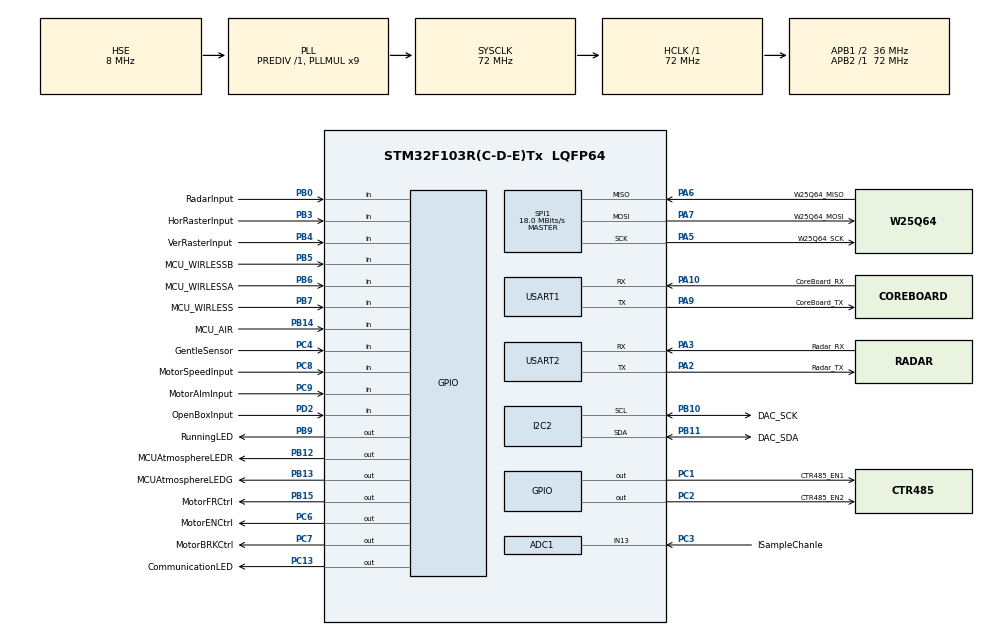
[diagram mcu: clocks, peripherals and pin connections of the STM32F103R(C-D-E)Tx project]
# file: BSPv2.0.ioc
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ADC1.Channel-0\#ChannelRegularConversion=ADC_CHANNEL_13
ADC1.Channel-1\#ChannelRegularConversion=ADC_CHANNEL_TEMPSENSOR
ADC1.ContinuousConvMode=DISABLE
ADC1.DataAlign=ADC_DATAALIGN_RIGHT
ADC1.DiscontinuousConvMode=DISABLE
ADC1.EnableAnalogWatchDog=false
ADC1.EnableRegularConversion=ENABLE
ADC1.ExternalTrigConv=ADC_SOFTWARE_START
ADC1.InjNumberOfConversion=0
ADC1.NbrOfConversion=2
ADC1.NbrOfConversionFlag=1
ADC1.Rank-0\#ChannelRegularConversion=1
ADC1.Rank-1\#ChannelRegularConversion=2
ADC1.SamplingTime-0\#ChannelRegularConversion=ADC_SAMPLETIME_239CYCLES_5
ADC1.SamplingTime-1\#ChannelRegularConversion=ADC_SAMPLETIME_239CYCLES_5
ADC1.ScanConvMode=ADC_SCAN_ENABLE
ADC1.master=1
Dma.ADC1.0.Direction=DMA_PERIPH_TO_MEMORY
Dma.ADC1.0.Instance=DMA1_Channel1
Dma.ADC1.0.MemDataAlignment=DMA_MDATAALIGN_WORD
Dma.ADC1.0.MemInc=DMA_MINC_ENABLE
Dma.ADC1.0.Mode=DMA_CIRCULAR
Dma.ADC1.0.PeriphDataAlignment=DMA_PDATAALIGN_WORD
Dma.ADC1.0.PeriphInc=DMA_PINC_DISABLE
Dma.ADC1.0.Priority=DMA_PRIORITY_LOW
Dma.Request0=ADC1
Dma.Request1=USART1_RX
Dma.Request2=USART2_RX
Dma.USART1_RX.1.Direction=DMA_PERIPH_TO_MEMORY
Dma.USART1_RX.1.Instance=DMA1_Channel5
Dma.USART1_RX.1.MemDataAlignment=DMA_MDATAALIGN_BYTE
Dma.USART1_RX.1.MemInc=DMA_MINC_ENABLE
Dma.USART1_RX.1.Mode=DMA_NORMAL
Dma.USART1_RX.1.PeriphDataAlignment=DMA_PDATAALIGN_BYTE
Dma.USART1_RX.1.PeriphInc=DMA_PINC_DISABLE
Dma.USART1_RX.1.Priority=DMA_PRIORITY_LOW
Dma.USART2_RX.2.Direction=DMA_PERIPH_TO_MEMORY
Dma.USART2_RX.2.Instance=DMA1_Channel6
Dma.USART2_RX.2.MemDataAlignment=DMA_MDATAALIGN_BYTE
Dma.USART2_RX.2.MemInc=DMA_MINC_ENABLE
Dma.USART2_RX.2.Mode=DMA_NORMAL
Dma.USART2_RX.2.PeriphDataAlignment=DMA_PDATAALIGN_BYTE
Dma.USART2_RX.2.PeriphInc=DMA_PINC_DISABLE
Dma.USART2_RX.2.Priority=DMA_PRIORITY_LOW
Mcu.Family=STM32F1
Mcu.Name=STM32F103R(C-D-E)Tx
Mcu.Package=LQFP64
NVIC.ADC1_2_IRQn=true\:0\:0\:false\:true\:true\:10\:true
NVIC.DMA1_Channel1_IRQn=true\:0\:0\:false\:true\:true\:5\:false
NVIC.DMA1_Channel5_IRQn=true\:0\:0\:false\:true\:true\:7\:false
NVIC.DMA1_Channel6_IRQn=true\:0\:0\:false\:true\:true\:8\:false
NVIC.I2C2_ER_IRQn=true\:0\:0\:false\:true\:true\:12\:true
NVIC.I2C2_EV_IRQn=true\:0\:0\:false\:true\:true\:11\:true
NVIC.PriorityGroup=NVIC_PRIORITYGROUP_4
NVIC.SPI1_IRQn=true\:0\:0\:false\:false\:true\:true
NVIC.TIM4_IRQn=true\:0\:0\:false\:true\:true\:4\:true
NVIC.TIM5_IRQn=true\:0\:0\:false\:true\:true\:3\:true
NVIC.TIM6_IRQn=true\:0\:0\:false\:false\:true\:true
NVIC.USART1_IRQn=true\:0\:0\:false\:true\:true\:1\:true
NVIC.USART2_IRQn=true\:0\:0\:false\:true\:true\:2\:true
PA10.GPIO_Label=CoreBoard_RX
PA10.GPIO_PuPd=GPIO_PULLUP
PA10.Mode=Asynchronous
PA10.Signal=USART1_RX
PA13.Mode=Serial_Wire
PA13.Signal=SYS_JTMS-SWDIO
PA14.Mode=Serial_Wire
PA14.Signal=SYS_JTCK-SWCLK
PA2.GPIO_Label=Radar_TX
PA2.Mode=Asynchronous
PA2.Signal=USART2_TX
PA3.GPIO_Label=Radar_RX
PA3.GPIO_PuPd=GPIO_PULLUP
PA3.Mode=Asynchronous
PA3.Signal=USART2_RX
PA5.GPIO_Label=W25Q64_SCK
PA5.Mode=Full_Duplex_Master
PA5.Signal=SPI1_SCK
PA6.GPIO_Label=W25Q64_MISO
PA6.Mode=Full_Duplex_Master
PA6.Signal=SPI1_MISO
PA7.GPIO_Label=W25Q64_MOSI
PA7.Mode=Full_Duplex_Master
PA7.Signal=SPI1_MOSI
PA9.GPIO_Label=CoreBoard_TX
PA9.Mode=Asynchronous
PA9.Signal=USART1_TX
PB0.GPIO_Label=RadarInput
PB0.GPIO_PuPd=GPIO_PULLUP
PB0.Signal=GPIO_Input
PB10.GPIO_Label=DAC_SCK
PB10.Mode=I2C
PB10.Signal=I2C2_SCL
PB11.GPIO_Label=DAC_SDA
PB11.Mode=I2C
PB11.Signal=I2C2_SDA
PB12.GPIO_Label=MCUAtmosphereLEDR
PB12.Signal=GPIO_Output
PB13.GPIO_Label=MCUAtmosphereLEDG
PB13.Signal=GPIO_Output
PB14.GPIO_Label=MCU_AIR
PB14.Signal=GPIO_Input
PB15.GPIO_Label=MotorFRCtrl
PB15.Signal=GPIO_Output
PB3.GPIO_Label=HorRasterInput
PB3.GPIO_PuPd=GPIO_PULLUP
PB3.Signal=GPIO_Input
PB4.GPIO_Label=VerRasterInput
PB4.GPIO_PuPd=GPIO_PULLDOWN
PB4.Signal=GPIO_Input
PB5.GPIO_Label=MCU_WIRLESSB
PB5.Signal=GPIO_Input
PB6.GPIO_Label=MCU_WIRLESSA
PB6.Signal=GPIO_Input
PB7.GPIO_Label=MCU_WIRLESS
PB7.GPIO_PuPd=GPIO_PULLUP
PB7.Signal=GPIO_Input
PB9.GPIO_Label=RunningLED
PB9.Signal=GPIO_Output
PC1.GPIO_Label=CTR485_EN1
PC1.GPIO_ModeDefaultOutputPP=GPIO_MODE_OUTPUT_PP
PC1.PinState=GPIO_PIN_RESET
PC1.Signal=GPIO_Output
PC13-TAMPER-RTC.GPIO_Label=CommunicationLED
PC13-TAMPER-RTC.Signal=GPIO_Output
PC2.GPIO_Label=CTR485_EN2
PC2.Signal=GPIO_Output
PC3.GPIO_Label=ISampleChanle
PC3.Signal=ADCx_IN13
PC4.GPIO_Label=GentleSensor
PC4.GPIO_PuPd=GPIO_PULLUP
PC4.Signal=GPIO_Input
PC6.GPIO_Label=MotorENCtrl
PC6.Signal=GPIO_Output
PC7.GPIO_Label=MotorBRKCtrl
PC7.Signal=GPIO_Output
PC8.GPIO_Label=MotorSpeedInput
PC8.GPIO_PuPd=GPIO_PULLUP
PC8.Signal=GPIO_Input
PC9.GPIO_Label=MotorAlmInput
PC9.GPIO_PuPd=GPIO_PULLDOWN
PC9.Signal=GPIO_Input
PD0-OSC_IN.Mode=HSE-External-Oscillator
PD0-OSC_IN.Signal=RCC_OSC_IN
PD1-OSC_OUT.Mode=HSE-External-Oscillator
PD1-OSC_OUT.Signal=RCC_OSC_OUT
PD2.GPIO_Label=OpenBoxInput
PD2.Signal=GPIO_Input
ProjectManager.HeapSize=0x200
ProjectManager.StackSize=0x400
ProjectManager.TargetToolchain=Other Toolchains (GPDSC)
RCC.ADCPresc=RCC_ADCPCLK2_DIV6
RCC.AHBFreq_Value=72000000
RCC.APB1CLKDivider=RCC_HCLK_DIV2
RCC.APB1Freq_Value=36000000
RCC.APB1TimFreq_Value=72000000
RCC.APB2Freq_Value=72000000
RCC.APB2TimFreq_Value=72000000
RCC.HCLKFreq_Value=72000000
RCC.PLLMUL=RCC_PLL_MUL9
RCC.PLLSourceVirtual=RCC_PLLSOURCE_HSE
RCC.SYSCLKFreq_VALUE=72000000
RCC.SYSCLKSource=RCC_SYSCLKSOURCE_PLLCLK
RCC.USBFreq_Value=72000000
SH.ADCx_IN13.0=ADC1_IN13,IN13
SPI1.BaudRatePrescaler=SPI_BAUDRATEPRESCALER_4
SPI1.CalculateBaudRate=18.0 MBits/s
SPI1.DataSize=SPI_DATASIZE_16BIT
SPI1.Direction=SPI_DIRECTION_2LINES
SPI1.Mode=SPI_MODE_MASTER
SPI1.VirtualType=VM_MASTER
TIM4.Period=50-1
TIM4.Prescaler=72 - 1
TIM5.Period=1000-1
TIM5.Prescaler=72 - 1
TIM6.Period=200-1
TIM6.Prescaler=72-1
USART1.VirtualMode=VM_ASYNC
USART2.VirtualMode=VM_ASYNC
VP_ADC1_TempSens_Input.Mode=IN-TempSens
VP_TIM4_VS_ClockSourceINT.Mode=Internal
VP_TIM5_VS_ClockSourceINT.Mode=Internal
VP_TIM6_VS_ClockSourceINT.Mode=Enable_Timer
board=BSPv2.0

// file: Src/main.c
/**
  ******************************************************************************
  * @file           : main.c
  * @brief          : Main program body
  ******************************************************************************
  ** This notice applies to any and all portions of this file
  * that are not between comment pairs USER CODE BEGIN and
  * USER CODE END. Other portions of this file, whether
  * inserted by the user or by software development tools
  * are owned by their respective copyright owners.
  *
  * COPYRIGHT(c) 2018 STMicroelectronics
  *
  * Redistribution and use in source and binary forms, with or without modification,
  * are permitted provided that the following conditions are met:
  *   1. Redistributions of source code must retain the above copyright notice,
  *      this list of conditions and the following disclaimer.
  *   2. Redistributions in binary form must reproduce the above copyright notice,
  *      this list of conditions and the following disclaimer in the documentation
  *      and/or other materials provided with the distribution.
  *   3. Neither the name of STMicroelectronics nor the names of its contributors
  *      may be used to endorse or promote products derived from this software
  *      without specific prior written permission.
  *
  * THIS SOFTWARE IS PROVIDED BY THE COPYRIGHT HOLDERS AND CONTRIBUTORS "AS IS"
  * AND ANY EXPRESS OR IMPLIED WARRANTIES, INCLUDING, BUT NOT LIMITED TO, THE
  * IMPLIED WARRANTIES OF MERCHANTABILITY AND FITNESS FOR A PARTICULAR PURPOSE ARE
  * DISCLAIMED. IN NO EVENT SHALL THE COPYRIGHT HOLDER OR CONTRIBUTORS BE LIABLE
  * FOR ANY DIRECT, INDIRECT, INCIDENTAL, SPECIAL, EXEMPLARY, OR CONSEQUENTIAL
  * DAMAGES (INCLUDING, BUT NOT LIMITED TO, PROCUREMENT OF SUBSTITUTE GOODS OR
  * SERVICES; LOSS OF USE, DATA, OR PROFITS; OR BUSINESS INTERRUPTION) HOWEVER
  * CAUSED AND ON ANY THEORY OF LIABILITY, WHETHER IN CONTRACT, STRICT LIABILITY,
  * OR TORT (INCLUDING NEGLIGENCE OR OTHERWISE) ARISING IN ANY WAY OUT OF THE USE
  * OF THIS SOFTWARE, EVEN IF ADVISED OF THE POSSIBILITY OF SUCH DAMAGE.
  *
  ******************************************************************************
  */
#include "main.h"
#include "stm32f1xx_hal.h"
#include "adc.h"
#include "dma.h"
#include "i2c.h"
#include "spi.h"
#include "tim.h"
#include "usart.h"
#include "gpio.h"

/* USER CODE BEGIN Includes */
#include "bsp_gentlesensor.h"
#include "bsp_common.h"
#include "bsp_motor.h"
#include "bsp_led.h"
#include "BSP_DAC5571.h"
#include "bsp_DataTransmissionLayer.h"
#include "bsp_ProtocolLayer.h"
#include "bsp_AirSensor.h"
#include "bsp_Log.h"
#include "bsp_RemoteControl.h"

/* USER CODE END Includes */

/* USER CODE BEGIN PV */
/* Private variables ---------------------------------------------------------*/
/*软件版本号*/
#define  CODEVERSION		0x0201

WIRLESS gWIRLESS;
MOTORMACHINE gMotorMachine;
GPIOSTATUSDETECTION gGentleSensorStatusDetection;
AirSensor gAirSensor;

uint8_t	  gWirlessFlag;

uint8_t   gWirlessOpenCurrentReadVal;
uint8_t   gWirlessOpenLastReadVal;
uint16_t  gWirlessOpenCnt;

uint8_t gwirlessCloseCurrentReadVal;
uint8_t gWirlessCloseLastReadVal;

uint8_t	gWirlessStopCurrentReadVal;
uint8_t gWirlessStopLastReadVal;

uint8_t	  gTimeoutFlag;	//开闸超时标记位，如果超时发送车未进场
uint8_t   gCarEnteredFlag; //车辆已经进场标记位

uint16_t  OpenSpeedCnt;
uint8_t   OpenSpeedFlag;

uint32_t gXDataBuffer[10];
uint32_t gADCBuffer[10];
uint32_t gICurrentValue;
uint16_t gICurrent;
uint8_t	 gICurrentValueBuff[2];

/*存放用于读取的电流数据*/
uint16_t gXDataBuf[10];
uint8_t  xCnt;
uint8_t  xSensorCnt;
uint16_t Xavg;
uint16_t AboveXAvg = 0x0FF;//2A电流时认为触发电子防砸

uint8_t  gComingCarFlag;

uint8_t gHorCurrentRedVal;
uint8_t gHorLastCurrentRedVal;

uint8_t gVerCurrentRedVal;
uint8_t gVerLastRedVal;

uint8_t gStepCnterCurrentRedVal;
uint8_t gStepCnterLastRedVal;

uint8_t gLastStepValue;
uint8_t gCurrentStepValue;

uint8_t gTIM6Flag;

/*氛围灯标记以及氛围灯控制计时*/
uint8_t gAtmosphereTimFlag;
uint16_t gAtmosphereTimCnt;

/*关闭道闸定时器标记*/
uint8_t gCloseFlag;
uint32_t gCloseTimCnt;

/*定时日志上报*/
uint8_t  gReportLogFlag;
uint32_t gReportLogTimCnt;
/* USER CODE END PV */

void SystemClock_Config(void);
static void MX_NVIC_Init(void);

/* USER CODE BEGIN PFP */
/* Private function prototypes -----------------------------------------------*/
void FilterADCSignals(uint16_t xData);
void CheckCarEnteredFlag(void);
/* USER CODE END PFP */

int main(void)
{
  /* USER CODE BEGIN 1 */
	uint8_t i = 0;
  /* USER CODE END 1 */

  /* MCU Configuration----------------------------------------------------------*/

  /* Reset of all peripherals, Initializes the Flash interface and the Systick. */
  HAL_Init();

  /* Configure the system clock */
  SystemClock_Config();

  /* Initialize all configured peripherals */
  MX_GPIO_Init();
  MX_DMA_Init();
  MX_ADC1_Init();
  MX_I2C2_Init();
  MX_SPI1_Init();
  MX_TIM4_Init();
  MX_TIM5_Init();
  MX_USART1_UART_Init();
  MX_USART2_UART_Init();
  MX_TIM6_Init();

  /* Initialize interrupts */
  MX_NVIC_Init();
  /* USER CODE BEGIN 2 */
	HAL_TIM_Base_Start_IT(&htim4);//50us
	HAL_TIM_Base_Start_IT(&htim5);//1ms
	HAL_TIM_Base_Start_IT(&htim6);//5ms
	/*获取电流值和温度信息*/
	HAL_ADC_Start_DMA(&hadc1,(uint32_t*)&gADCBuffer,10);

	BSP_MotorInit();
	BSP_RUNNINGLED_ON();
	BSP_AirSensor_Init(5);
	BSP_GentleSensorInit();
	BSP_Log_Init(0x01020304);
	BSP_DriverBoardProtocolInit();
	BSP_LeftDoorBoardProtocolInit();
	BSP_DAC5571_Init(NormalOperationMode);

	BSP_DAC5571_WriteValue(NormalOperationMode, 200);
  /* USER CODE END 2 */

  /* Infinite loop */
  while (1)
  {

  /* USER CODE BEGIN 3 */
	  BSP_HandingUartDataFromDriverBoard();
	  BSP_HandingDriverBoardRequest();
	  BSP_SendAckData();

	  BSP_MotorCheckA();
	  BSP_MotorActionA();

	  /*氛围灯控制*/
	  if (gAtmosphereTimFlag)
	  {
		  BSP_LEDCheck();
		  BSP_Log_UpAtmoshereStatus(gComingCarFlag);
		  gAtmosphereTimFlag = 0;
	  }

	  CheckCarEnteredFlag();

	  /*定时上报日志*/
	  if (gReportLogFlag)
	  {
		  BSP_Log_UpMotorStatus(gMotorMachine.RunningState);
		  BSP_Log_UpGentleStatus(gGentleSensorStatusDetection.GpioCheckedFlag);
		  BSP_Log_UpAirSensorStatus(gAirSensor.CheckedFlag);
		  BSP_Log_CheckReportInfo();
		  gReportLogFlag = 0;
	  }

	  /* 在开闸的过程中 每五个毫秒获取一次电流值 */
	  if (gTIM6Flag)
	  {
		  gTIM6Flag = 0;
		  for (i = 0; i < 10;)
		  {
			  gICurrentValue += gADCBuffer[i++];
			  i++;
		  }

		  gICurrentValue /= 5;
		  gICurrentValueBuff[0] = (uint8_t)(gICurrentValue >> 8);
		  gICurrentValueBuff[1] = (uint8_t)(gICurrentValue);
		  if(DOWNDIR == gMotorMachine.RunDir && gMotorMachine.RunningState)
		  {
			  FilterADCSignals(gICurrentValue);
		  }

		  if (UPDIR == gMotorMachine.RunDir && gMotorMachine.RunningState)
		  {
			  if (gICurrentValue > gICurrent)
			  {
				  gICurrent = gICurrentValue;
				  BSP_Log_UpICurrentValue(gICurrent);
			  }
		  }

	  }
  }
  /* USER CODE END 3 */

}

void SystemClock_Config(void)
{

  RCC_OscInitTypeDef RCC_OscInitStruct;
  RCC_ClkInitTypeDef RCC_ClkInitStruct;
  RCC_PeriphCLKInitTypeDef PeriphClkInit;

    /**Initializes the CPU, AHB and APB busses clocks
    */
  RCC_OscInitStruct.OscillatorType = RCC_OSCILLATORTYPE_HSE;
  RCC_OscInitStruct.HSEState = RCC_HSE_ON;
  RCC_OscInitStruct.HSEPredivValue = RCC_HSE_PREDIV_DIV1;
  RCC_OscInitStruct.HSIState = RCC_HSI_ON;
  RCC_OscInitStruct.PLL.PLLState = RCC_PLL_ON;
  RCC_OscInitStruct.PLL.PLLSource = RCC_PLLSOURCE_HSE;
  RCC_OscInitStruct.PLL.PLLMUL = RCC_PLL_MUL9;
  if (HAL_RCC_OscConfig(&RCC_OscInitStruct) != HAL_OK)
  {
    _Error_Handler(__FILE__, __LINE__);
  }

    /**Initializes the CPU, AHB and APB busses clocks
    */
  RCC_ClkInitStruct.ClockType = RCC_CLOCKTYPE_HCLK|RCC_CLOCKTYPE_SYSCLK
                              |RCC_CLOCKTYPE_PCLK1|RCC_CLOCKTYPE_PCLK2;
  RCC_ClkInitStruct.SYSCLKSource = RCC_SYSCLKSOURCE_PLLCLK;
  RCC_ClkInitStruct.AHBCLKDivider = RCC_SYSCLK_DIV1;
  RCC_ClkInitStruct.APB1CLKDivider = RCC_HCLK_DIV2;
  RCC_ClkInitStruct.APB2CLKDivider = RCC_HCLK_DIV1;

  if (HAL_RCC_ClockConfig(&RCC_ClkInitStruct, FLASH_LATENCY_2) != HAL_OK)
  {
    _Error_Handler(__FILE__, __LINE__);
  }

  PeriphClkInit.PeriphClockSelection = RCC_PERIPHCLK_ADC;
  PeriphClkInit.AdcClockSelection = RCC_ADCPCLK2_DIV6;
  if (HAL_RCCEx_PeriphCLKConfig(&PeriphClkInit) != HAL_OK)
  {
    _Error_Handler(__FILE__, __LINE__);
  }

    /**Configure the Systick interrupt time
    */
  HAL_SYSTICK_Config(HAL_RCC_GetHCLKFreq()/1000);

    /**Configure the Systick
    */
  HAL_SYSTICK_CLKSourceConfig(SYSTICK_CLKSOURCE_HCLK);

  /* SysTick_IRQn interrupt configuration */
  HAL_NVIC_SetPriority(SysTick_IRQn, 0, 0);
}

/**
  * @brief NVIC Configuration.
  * @retval None
  */
static void MX_NVIC_Init(void)
{
  /* USART1_IRQn interrupt configuration */
  HAL_NVIC_SetPriority(USART1_IRQn, 0, 0);
  HAL_NVIC_EnableIRQ(USART1_IRQn);
  /* USART2_IRQn interrupt configuration */
  HAL_NVIC_SetPriority(USART2_IRQn, 0, 0);
  HAL_NVIC_EnableIRQ(USART2_IRQn);
  /* TIM5_IRQn interrupt configuration */
  HAL_NVIC_SetPriority(TIM5_IRQn, 0, 0);
  HAL_NVIC_EnableIRQ(TIM5_IRQn);
  /* TIM4_IRQn interrupt configuration */
  HAL_NVIC_SetPriority(TIM4_IRQn, 0, 0);
  HAL_NVIC_EnableIRQ(TIM4_IRQn);
  /* DMA1_Channel1_IRQn interrupt configuration */
  HAL_NVIC_SetPriority(DMA1_Channel1_IRQn, 0, 0);
  HAL_NVIC_EnableIRQ(DMA1_Channel1_IRQn);
  /* DMA1_Channel5_IRQn interrupt configuration */
  HAL_NVIC_SetPriority(DMA1_Channel5_IRQn, 0, 0);
  HAL_NVIC_EnableIRQ(DMA1_Channel5_IRQn);
  /* DMA1_Channel6_IRQn interrupt configuration */
  HAL_NVIC_SetPriority(DMA1_Channel6_IRQn, 0, 0);
  HAL_NVIC_EnableIRQ(DMA1_Channel6_IRQn);
  /* ADC1_2_IRQn interrupt configuration */
  HAL_NVIC_SetPriority(ADC1_2_IRQn, 0, 0);
  HAL_NVIC_EnableIRQ(ADC1_2_IRQn);
  /* I2C2_EV_IRQn interrupt configuration */
  HAL_NVIC_SetPriority(I2C2_EV_IRQn, 0, 0);
  HAL_NVIC_EnableIRQ(I2C2_EV_IRQn);
  /* I2C2_ER_IRQn interrupt configuration */
  HAL_NVIC_SetPriority(I2C2_ER_IRQn, 0, 0);
  HAL_NVIC_EnableIRQ(I2C2_ER_IRQn);
}

/* USER CODE BEGIN 4 */
void HAL_TIM_PeriodElapsedCallback(TIM_HandleTypeDef *htim)
{
	/* Prevent unused argument(s) compilation warning */
	UNUSED(htim);
	/* NOTE : This function Should not be modified, when the callback is needed,
	          the __HAL_TIM_PeriodElapsedCallback could be implemented in the user file
	*/
	/* 50us */
	if (htim4.Instance == htim->Instance)
	{

		gWirlessOpenCurrentReadVal = HAL_GPIO_ReadPin(MCU_WIRLESSOPEN_GPIO_Port, MCU_WIRLESSOPEN_Pin);
		if (0 == gWirlessOpenCurrentReadVal && 0 == gWirlessOpenLastReadVal)
		{
			if (gWirlessFlag)
			{
				if (0 == gWIRLESS.OpenFlag)
				{
					gWirlessOpenCnt++;
					if (gWirlessOpenCnt > 20)
					{
						gWIRLESS.OpenFlag = 1;
						gWIRLESS.STopFlag  = 1;
						gWirlessOpenCnt = 0;
						gWirlessFlag = 0;
					}
				}
				else
				{
					gWirlessOpenCnt++;
					if (gWirlessOpenCnt > 20)
					{
						gWIRLESS.OpenFlag = 0;
						gWIRLESS.STopFlag  = 0;
						gWirlessOpenCnt = 0;
						gWirlessFlag = 0;
					}
				}
			}
		}
		else
		{
			gWirlessFlag = 1;
		}
		gWirlessOpenLastReadVal = gWirlessOpenCurrentReadVal;

		/**/
		gHorCurrentRedVal = HAL_GPIO_ReadPin(HorRasterInput_GPIO_Port, HorRasterInput_Pin);
		gVerCurrentRedVal = HAL_GPIO_ReadPin(VerRasterInput_GPIO_Port, VerRasterInput_Pin);

		if (0 == gHorCurrentRedVal && 0 == gHorLastCurrentRedVal)
		{
			gMotorMachine.HorFilterCnt++;
			if (gMotorMachine.HorFilterCnt > 10)
			{
				gMotorMachine.HorizontalRasterState = 1;
				gMotorMachine.HorFilterCnt = 0;
				if (DOWNDIR == gMotorMachine.RunDir)	//检测到杆在水平位置时值运动
				{
					gMotorMachine.RunDir = UPDIR;
					gMotorMachine.RunningState = 0;
					gMotorMachine.StepCnt = 0;
					BSP_MotorStop();
					gICurrent = 0;
				}
			}
		}
		else
		{
			gMotorMachine.HorizontalRasterState = 0;
			gMotorMachine.HorFilterCnt = 0;
		}
		gHorLastCurrentRedVal = gHorCurrentRedVal;

		//垂直位杆监测
		if (0 == gVerCurrentRedVal && 0 == gVerLastRedVal)
		{
			gMotorMachine.VerFilterCnt++;
			if (gMotorMachine.VerFilterCnt > 10)
			{
				gMotorMachine.VerticalRasterState = 1;
				gMotorMachine.VerFilterCnt = 0;
				if (UPDIR == gMotorMachine.RunDir)
				{
					gMotorMachine.RunDir = DOWNDIR;
					gMotorMachine.RunningState = 0;
					gMotorMachine.StepCnt = 0;
					BSP_MotorStop();
					gICurrent = 0;
					//HAL_TIM_Base_Stop_IT(&htim6); //垂直到位关闭定时器中断
					gMotorMachine.EncounteredFlag = 0;//将遇阻反弹标记位清零
					gMotorMachine.DigitalAntiSmashingFlag = 0;//数字防砸标记位清空
					gCloseFlag = 1;//垂直到位，打开定时器，进行延时，延时后进行关闸
				}
			}
		}
		else
		{
			gMotorMachine.VerticalRasterState = 0;
			gMotorMachine.VerFilterCnt = 0;
		}
		gVerLastRedVal = gVerCurrentRedVal;

	}

	/* 1ms */
	if (htim5.Instance == htim->Instance)
	{
		/*地感检测*/
		gGentleSensorStatusDetection.GpioCurrentReadVal = HAL_GPIO_ReadPin(GentleSensor_GPIO_Port, GentleSensor_Pin);
		if (0 == gGentleSensorStatusDetection.GpioCurrentReadVal && 0 == gGentleSensorStatusDetection.GpioLastReadVal)
		{
			if (0 == gGentleSensorStatusDetection.GpioCheckedFlag)
			{
				gGentleSensorStatusDetection.GpioFilterCnt++;
				if (gGentleSensorStatusDetection.GpioFilterCnt > gGentleSensorStatusDetection.GpioFilterCntSum)
				{
					gGentleSensorStatusDetection.GpioStatusVal = 1;
					gGentleSensorStatusDetection.GpioFilterCnt = 0;
					gGentleSensorStatusDetection.GpioCheckedFlag = 1;
					gMotorMachine.GentleSensorFlag	 = 1;
					gComingCarFlag = 1;
				}
			}

		}
		else
		{
			if (gGentleSensorStatusDetection.GpioCheckedFlag)
			{
				gCloseFlag = 0; //车经过之后立即关闸
				gCarEnteredFlag = 1;
			}
			gMotorMachine.GentleSensorFlag = 0;
			gGentleSensorStatusDetection.GpioCheckedFlag  = 0;
			gGentleSensorStatusDetection.GpioStatusVal	  = 0;
			gGentleSensorStatusDetection.GpioFilterCnt    = 0;
			gGentleSensorStatusDetection.GpioSendDataFlag = 1;
			gComingCarFlag = 0;
		}
		gGentleSensorStatusDetection.GpioLastReadVal = gGentleSensorStatusDetection.GpioCurrentReadVal;

		if (gCloseFlag)
		{
			gCloseTimCnt++;
			if (gCloseTimCnt > 25000)//25s延时
			{
				gCloseFlag = 0;
				gCloseTimCnt = 0;
				gTimeoutFlag = 1;
			}
		}
		else
		{
			gCloseTimCnt = 0;
		}

		/* 雷达侦测 */

		/* 压力波探测 */
		gAirSensor.CurrentReadValue = HAL_GPIO_ReadPin(MCU_AIR_GPIO_Port, MCU_AIR_Pin);
		if (0 == gAirSensor.CurrentReadValue && 0 == gAirSensor.LastReadValue)
		{
			if (0 == gAirSensor.CheckedFlag)
			{
				gAirSensor.FilterCnt++;
				if (gAirSensor.FilterCnt > gAirSensor.FilterCntSum)
				{
					gAirSensor.CheckedFlag = 1;
					gAirSensor.FilterCnt = 0;
				}
			}
		}
		else
		{
			gAirSensor.CheckedFlag = 0;
			gAirSensor.FilterCnt = 0;
		}
		gAirSensor.LastReadValue = gAirSensor.CurrentReadValue;

		/* 数字防砸 */

		/* 日志计时定时器 */
		gReportLogTimCnt++;
		if (gReportLogTimCnt > 10000)
		{
			gReportLogFlag = 1;
			gReportLogTimCnt = 0;
		}
		/* 氛围灯 */
		gAtmosphereTimCnt++;
		if (gAtmosphereTimCnt > 200)
		{
			gAtmosphereTimFlag = 1;
			gAtmosphereTimCnt = 0;
		}

	}
	/* 5ms */
	if (htim6.Instance == htim->Instance)
	{
		gTIM6Flag = 1;
		if (OpenSpeedFlag)
		{
			/*添加速度调制*/
		}

	}
}

void FilterADCSignals(uint16_t xData)
{
	/*如果电机处在运行状态且向下运行，则进行下一步的处理*/
	uint8_t  i;
	uint32_t temple;
	if (0 == xCnt)
	{
		Xavg = xData;
		return ;
	}

	if ((xData - Xavg) > AboveXAvg || (Xavg - xData) > AboveXAvg)
	{
		xSensorCnt++;
		if (xSensorCnt > 100)
		{
			/* 遇到阻碍，遇阻写标记位 */
			xSensorCnt = 0;
			gMotorMachine.DigitalAntiSmashingFlag = 1;
		}
	}
	else
	{
		xCnt++;
		gXDataBuffer[xCnt] = xData;
		if (xCnt > 10)
		{
			for (i = 0; i < 10; i++)
			{
				temple += gXDataBuffer[i];
			}
			temple /= 10;
			Xavg = temple;
		}
		xCnt = 0;
	}
}

void CheckCarEnteredFlag(void)
{
	uint8_t i = 0;
	uint8_t pData[7];
	pData[0] = 0x5B;
	pData[1] = 0xE3;
	pData[3] = 0x00;
	pData[4] = 0x00;
	pData[6] = 0x5D;

	if (gCarEnteredFlag)
	{
		pData[2] = 0x00;//车辆入场
		pData[5] = 0xE3;
		gCarEnteredFlag = 0;
		BSP_SendDataToDriverBoard(pData, 7, 0xFFFF);
		return ;
	}

	if (gTimeoutFlag)
	{
		pData[2] = 0x01;//入场超时
		pData[5] = 0xE2;
		gTimeoutFlag = 0;
		BSP_SendDataToDriverBoard(pData, 7, 0xFFFF);
		return;
	}

}
/* USER CODE END 4 */

void _Error_Handler(char *file, int line)
{
  while(1)
  {
  }
}

/************************ (C) COPYRIGHT STMicroelectronics *****END OF FILE****/
